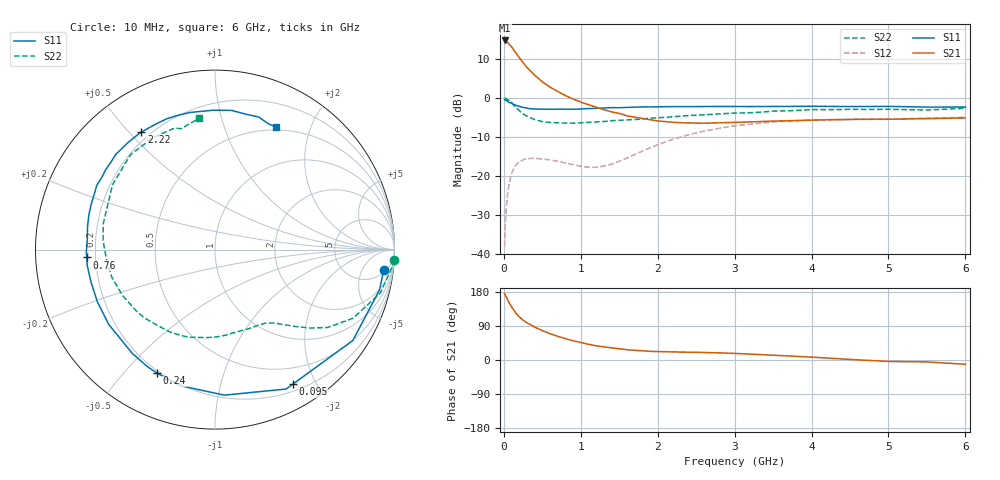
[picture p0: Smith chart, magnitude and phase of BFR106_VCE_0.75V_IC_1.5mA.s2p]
! Infineon Technologies  Discrete & RF Semiconductors
! BFR106
! VCE = 0.75 V,  IC =  1.5 mA
! Common Emitter S-Parameters:  Nov 2015
# GHz  S  MA  R  50
!  f  S11  S21  S12  S22
! GHz  MAG  ANG  MAG  ANG  MAG  ANG  MAG  ANG
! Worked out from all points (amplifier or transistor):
!   210 points, 10 MHz to 6 GHz, reference 50 ohm
!   highest |S21| = 14.7 dB at 10 MHz (marker M1)
!   |S21| within 3 dB of that: start of sweep to 149.2 MHz
!   unconditionally stable (mu >= 1): 787.9 MHz to end of sweep
!   at 185 MHz: K = 0.24, MSG = 13.7 dB, |S12| = -16.6 dB
!   at 1.52 GHz: K = 1.40, MAG = 2.2 dB, |S12| = -16.0 dB
!   at 6 GHz: K = 1.02, MAG = -1.0 dB, |S12| = -5.0 dB
!   S11 on the Smith chart (normalised r, x): 10 MHz: 6, -14; 95 MHz: 0.28, -1.70; 240 MHz: 0.19, -0.62; 760 MHz: 0.17, -0.03; 2.22 GHz: 0.17, +0.54; 6 GHz: 0.47, +1.52
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0.01  0.9474 -6.8  5.414 174.9  0.0127 87.5  0.9961 -3.2
0.025  0.9321 -17.0  5.315 169.1  0.0309 78.7  0.9818 -7.4
0.05  0.9199 -33.4  5.11 157.8  0.0611 70.6  0.9523 -14.7
0.095  0.8661 -60.0  4.554 142.1  0.1031 55.9  0.8671 -25.1
0.1  0.8721 -63.0  4.516 140.1  0.108 55.0  0.8596 -26.4
0.15  0.8126 -86.3  3.824 124.7  0.1362 42.7  0.7633 -34.6
0.2  0.7826 -104.1  3.293 114.1  0.1526 34.5  0.6857 -39.6
0.24  0.7603 -115.1  2.908 106.8  0.1599 29.2  0.6346 -42.7
0.3  0.7393 -128.6  2.447 97.9  0.1666 23.6  0.5833 -46.2
0.4  0.7242 -144.9  1.95 86.6  0.1691 17.4  0.5269 -50.9
0.5  0.7169 -156.1  1.603 77.3  0.1661 13.4  0.4968 -55.5
0.6  0.7142 -165.4  1.371 69.2  0.1612 11.5  0.4847 -60.5
0.76  0.7163 -176.5  1.121 58.8  0.1501 11.5  0.4768 -69.1
1.02  0.7227 168.8  0.868 45.1  0.1328 18.9  0.4812 -84.0
1.4  0.7496 151.6  0.66 32.0  0.1417 40.9  0.51 -106.8
2.02  0.7685 128.6  0.504 22.0  0.2555 52.8  0.5574 -143.5
2.22  0.7731 122.0  0.484 21.3  0.2992 50.6  0.576 -154.7
2.6  0.777 110.3  0.474 20.0  0.3751 43.6  0.6071 -174.6
3.1  0.775 98.4  0.489 16.4  0.4489 32.3  0.6406 162.9
4.1  0.7788 82.0  0.522 6.4  0.523 12.7  0.7063 129.1
5.1  0.7741 70.9  0.534 -4.1  0.5391 -0.8  0.7106 107.9
6  0.7624 63.3  0.553 -11.2  0.5646 -9.9  0.7364 97.0
